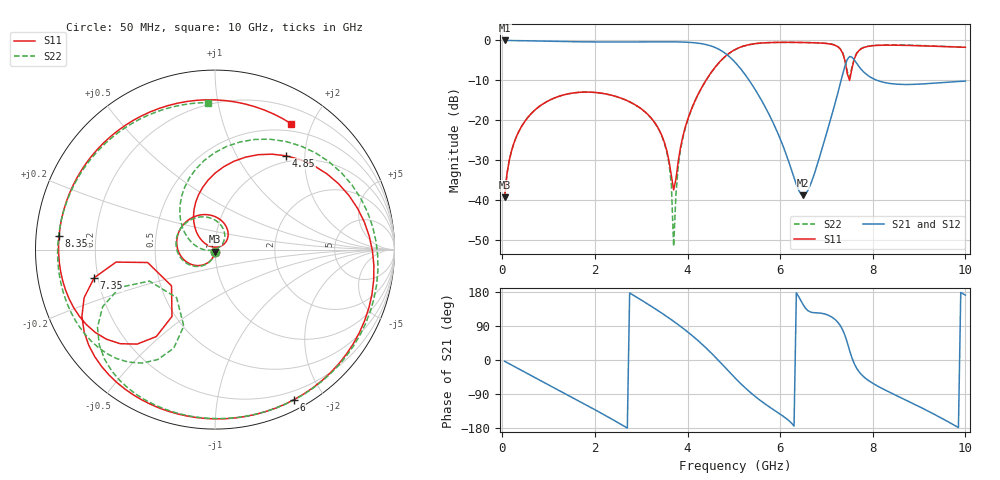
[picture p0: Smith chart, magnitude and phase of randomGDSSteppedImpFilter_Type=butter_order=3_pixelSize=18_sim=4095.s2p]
! freq	dB(S11)	phase(S11)	dB(S12)	phase(S12)
!  dB(S21)	phase(S21)	dB(S22)	phase(S22)
!S-par simulation data
#  GHz  S  DB  R 50
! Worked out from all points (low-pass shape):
!   200 points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, 50 MHz to 10 GHz, reference 50 ohm
!   highest |S21| = -0.01 dB at 50 MHz (marker M1); lowest = -38.9 dB at 6.5 GHz (marker M2)
!   |S21| within 3 dB of the highest: start of sweep to 4.786 GHz
!   lowest |S11| = -39.4 dB at 50 MHz (marker M3), VSWR 1.02, Z = 50 - j1.08 ohm
!   |S11| at or under -10 dB: start of sweep to 4.398 GHz; 7.499329 GHz to 7.500379 GHz (1.05 MHz wide, 0.014 % of centre)
!   |S22| runs from -51.6 to -0.5 dB; largest |S21 - S12| = 0
!   S11 on the Smith chart (normalised r, x): 50 MHz: 1.00, -0.02; 4.85 GHz: 0.89, +1.64; 6 GHz: 0.11, -1.65; 7.35 GHz: 0.18, -0.11; 8.35 GHz: 0.07, +0.04; 10 GHz: 0.40, +1.70
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0.05  -39.36 -90.3  -0.01 -3.4  -0.01 -3.4  -39.36 -90.1
0.2  -27.66 -103.4  -0.03 -13.3  -0.03 -13.3  -27.66 -102.6
0.5  -20.09 -124.4  -0.09 -33.0  -0.09 -33.0  -20.09 -122.4
1.75  -12.96 150.9  -0.37 -114.5  -0.37 -114.5  -12.97 158.7
2.65  -14.87 87.6  -0.37 -176.0  -0.37 -176.0  -14.88 100.0
3.4  -22.73 34.8  -0.33 127.3  -0.33 127.3  -22.82 45.5
3.6  -30.24 33.0  -0.34 110.7  -0.34 110.7  -30.94 30.2
3.7  -37.50 81.4  -0.36 102.0  -0.36 102.0  -51.60 39.9
3.8  -30.22 144.3  -0.38 93.2  -0.38 93.2  -31.40 -170.9
3.95  -21.82 146.5  -0.44 79.2  -0.44 79.2  -22.06 176.2
4.45  -9.06 101.4  -1.19 25.9  -1.19 25.9  -9.13 122.2
4.85  -3.67 52.9  -3.56 -24.8  -3.56 -24.8  -3.71 70.2
5.05  -2.15 28.0  -5.78 -50.3  -5.78 -50.3  -2.19 43.9
5.45  -0.83 -15.9  -12.14 -95.2  -12.14 -95.2  -0.84 -2.4
6  -0.49 -62.1  -24.65 -142.9  -24.65 -142.9  -0.49 -50.5
6.5  -0.52 -96.3  -38.85 145.1  -38.85 145.1  -0.51 -85.2
6.7  -0.58 -109.3  -34.75 125.3  -34.75 125.3  -0.56 -98.1
7.35  -3.20 -166.8  -8.50 79.5  -8.50 79.5  -3.07 -153.1
7.55  -7.07 -122.8  -4.19 5.7  -4.19 5.7  -6.74 -112.2
8.35  -1.19 175.1  -10.76 -84.3  -10.76 -84.3  -1.12 -167.5
9.3  -1.45 111.6  -10.74 -141.5  -10.74 -141.5  -1.39 138.5
10  -1.73 58.9  -10.21 171.2  -10.21 171.2  -1.72 92.7
